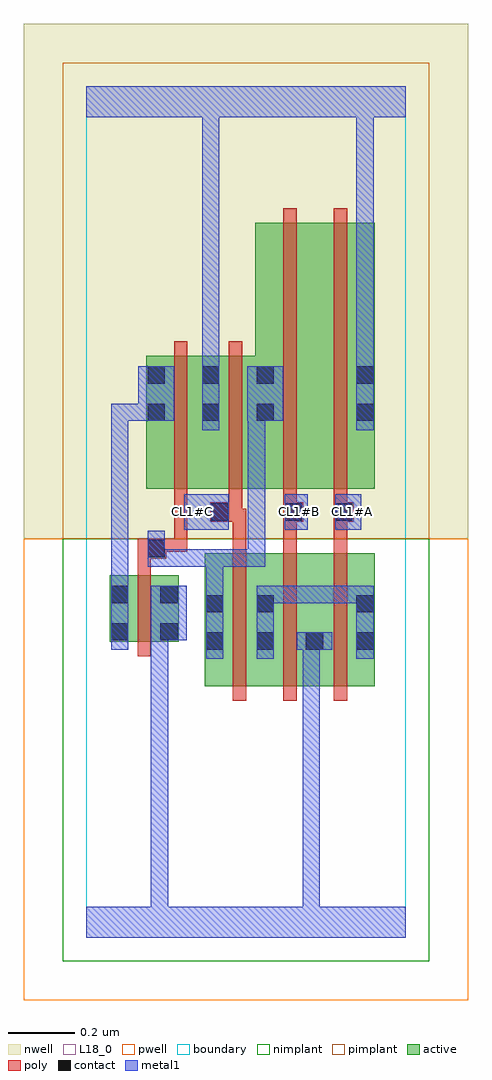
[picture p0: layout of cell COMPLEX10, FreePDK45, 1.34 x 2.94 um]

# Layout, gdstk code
import gdstk
lib = gdstk.Library(unit=1e-6, precision=1e-09)
def R(c, l, rs):  # rectangles x0, y0, x1, y1
    for r in rs: c.add(gdstk.rectangle(r[:2], r[2:], *l))
def A(c, l, x, y, w, h, nx, ny, dx, dy):  # array of equal rectangles
    R(c, l, [(x+i*dx, y+j*dy, x+i*dx+w, y+j*dy+h) for i in range(nx) for j in range(ny)])
active = (1, 0)
pwell = (2, 0)
nwell = (3, 0)
nimplant = (4, 0)
pimplant = (5, 0)
poly = (9, 0)
contact = (10, 0)
metal1 = (11, 0)
L18_0 = (18, 0)
boundary = (235, 0)

complex10 = lib.new_cell('COMPLEX10')
R(complex10, active, [(0.356,0.756,0.416,1.156), (0.356,0.756,0.568,1.156), (0.508,0.756,0.568,1.156), (0.508,0.756,0.716,1.156), (0.656,0.756,0.716,1.156), (0.656,0.756,0.868,1.156), (0.808,0.756,0.868,1.156), (0.07,0.89,0.13,1.09), (0.07,0.89,0.278,1.09), (0.218,0.89,0.278,1.09), (0.18,1.35,0.24,1.75), (0.18,1.35,0.404,1.75), (0.344,1.35,0.404,1.75), (0.344,1.35,0.568,1.75), (0.508,1.35,0.688,2.15), (0.508,1.35,0.568,1.722), (0.688,1.35,0.868,2.15), (0.808,1.35,0.868,2.044)])
R(complex10, pwell, [(-0.188,-0.188,1.148,1.2)])
R(complex10, nwell, [(-0.188,1.2,1.148,2.748)])
R(complex10, nimplant, [(-0.072,-0.072,1.032,1.2)])
R(complex10, pimplant, [(-0.072,1.2,1.032,2.632)])
A(complex10, poly, 0.44, 0.712, 0.04, 0.488, 3, 1, 0.152, 0)
A(complex10, poly, 0.44, 1.16, 0.04, 0.13, 3, 1, 0.152, 0)
R(complex10, poly, [(0.154,0.846,0.194,1.134), (0.154,1.094,0.194,1.18), (0.154,1.14,0.24,1.2), (0.2,1.16,0.24,1.2), (0.2,1.16,0.304,1.2), (0.264,1.16,0.304,1.346), (0.372,1.25,0.468,1.31), (0.428,1.25,0.468,1.29), (0.428,1.25,0.48,1.29), (0.592,1.25,0.632,1.29), (0.592,1.25,0.632,1.29), (0.592,1.25,0.652,1.31), (0.744,1.25,0.804,1.31), (0.428,1.27,0.468,1.346), (0.592,1.27,0.632,1.346), (0.744,1.27,0.784,1.346), (0.744,1.27,0.784,1.31), (0.744,1.27,0.784,1.31), (0.264,1.306,0.304,1.794), (0.428,1.306,0.468,1.794), (0.592,1.306,0.632,2.194), (0.744,1.306,0.784,2.194)])
A(complex10, contact, 0.184, 1.554, 0.052, 0.052, 3, 2, 0.164, 0.112)
R(complex10, contact, [(0.36,0.866,0.412,0.918), (0.512,0.866,0.564,0.918), (0.66,0.866,0.712,0.918), (0.812,0.866,0.864,0.918), (0.074,0.894,0.126,0.946), (0.222,0.894,0.274,0.946), (0.36,0.978,0.412,1.03), (0.512,0.978,0.564,1.03), (0.812,0.978,0.864,1.03), (0.074,1.006,0.126,1.058), (0.222,1.006,0.274,1.058), (0.184,1.144,0.236,1.196), (0.376,1.254,0.428,1.306), (0.596,1.254,0.648,1.306), (0.748,1.254,0.8,1.306), (0.812,1.554,0.864,1.606), (0.812,1.666,0.864,1.718)])
R(complex10, metal1, [(0,0,0.96,0.092), (0.194,0.04,0.246,0.092), (0.194,0.04,0.246,0.092), (0.194,0.04,0.246,0.092), (0.194,0.04,0.246,0.092), (0.194,0.04,0.246,0.092), (0.194,0.04,0.246,0.092), (0.194,0.04,0.246,0.092), (0.194,0.04,0.246,0.092), (0.194,0.04,0.246,0.092), (0.194,0.04,0.246,0.092), (0.194,0.04,0.246,0.092), (0.194,0.04,0.246,0.092), (0.194,0.04,0.246,0.092), (0.194,0.04,0.246,0.092), (0.194,0.04,0.246,0.946), (0.65,0.04,0.702,0.092), (0.65,0.04,0.702,0.092), (0.65,0.04,0.702,0.092), (0.65,0.04,0.702,0.092), (0.65,0.04,0.702,0.092), (0.65,0.04,0.702,0.092), (0.65,0.04,0.702,0.092), (0.65,0.04,0.702,0.092), (0.65,0.04,0.702,0.918), (0.36,0.838,0.412,1.058), (0.512,0.838,0.564,1.058), (0.812,0.838,0.864,1.058), (0.074,0.866,0.126,1.086), (0.632,0.866,0.74,0.918), (0.65,0.866,0.702,0.918), (0.65,0.866,0.702,0.918), (0.65,0.866,0.702,0.918), (0.65,0.866,0.702,0.918), (0.194,0.894,0.246,0.946), (0.194,0.894,0.246,0.946), (0.194,0.894,0.302,1.058), (0.36,1.006,0.412,1.168), (0.512,1.006,0.564,1.058), (0.512,1.006,0.564,1.058), (0.512,1.006,0.754,1.058), (0.702,1.006,0.754,1.058), (0.702,1.006,0.864,1.058), (0.812,1.006,0.864,1.058), (0.812,1.006,0.864,1.058), (0.074,1.034,0.126,1.086), (0.074,1.034,0.126,1.086), (0.074,1.034,0.126,1.606), (0.184,1.116,0.236,1.168), (0.184,1.116,0.236,1.168), (0.184,1.116,0.412,1.168), (0.184,1.116,0.236,1.224), (0.36,1.116,0.412,1.168), (0.36,1.116,0.454,1.168), (0.402,1.116,0.454,1.168), (0.402,1.116,0.538,1.168), (0.486,1.116,0.538,1.168), (0.486,1.116,0.538,1.168), (0.486,1.116,0.538,1.168), (0.486,1.116,0.538,1.606), (0.294,1.226,0.428,1.334), (0.596,1.226,0.666,1.334), (0.748,1.226,0.826,1.334), (0.348,1.526,0.4,1.746), (0.812,1.526,0.864,1.746), (0.074,1.554,0.208,1.606), (0.156,1.554,0.208,1.606), (0.156,1.554,0.264,1.718), (0.484,1.554,0.592,1.718), (0.348,1.694,0.4,2.52), (0.348,1.694,0.4,1.746), (0.348,1.694,0.4,1.746), (0.348,1.694,0.4,1.746), (0.348,1.694,0.4,1.746), (0.348,1.694,0.4,1.746), (0.348,1.694,0.4,1.746), (0.348,1.694,0.4,1.746), (0.348,1.694,0.4,1.746), (0.348,1.694,0.4,1.746), (0.348,1.694,0.4,1.746), (0.348,1.694,0.4,1.746), (0.348,1.694,0.4,1.746), (0.348,1.694,0.4,1.746), (0.348,1.694,0.4,1.746), (0.812,1.694,0.864,2.52), (0.812,1.694,0.864,1.746), (0.812,1.694,0.864,1.746), (0.812,1.694,0.864,1.746), (0.812,1.694,0.864,1.746), (0.812,1.694,0.864,1.746), (0.812,1.694,0.864,1.746), (0,2.468,0.96,2.56), (0.348,2.468,0.4,2.52), (0.348,2.468,0.4,2.52), (0.812,2.468,0.864,2.52), (0.812,2.468,0.864,2.52)])
R(complex10, L18_0, [(0,0,0.96,0.092), (0.194,0.04,0.246,0.092), (0.194,0.04,0.246,0.092), (0.194,0.04,0.246,0.092), (0.194,0.04,0.246,0.092), (0.194,0.04,0.246,0.092), (0.194,0.04,0.246,0.092), (0.194,0.04,0.246,0.092), (0.194,0.04,0.246,0.092), (0.194,0.04,0.246,0.092), (0.194,0.04,0.246,0.092), (0.194,0.04,0.246,0.092), (0.194,0.04,0.246,0.092), (0.194,0.04,0.246,0.092), (0.194,0.04,0.246,0.092), (0.194,0.04,0.246,0.946), (0.65,0.04,0.702,0.092), (0.65,0.04,0.702,0.092), (0.65,0.04,0.702,0.092), (0.65,0.04,0.702,0.092), (0.65,0.04,0.702,0.092), (0.65,0.04,0.702,0.092), (0.65,0.04,0.702,0.092), (0.65,0.04,0.702,0.092), (0.65,0.04,0.702,0.918), (0.632,0.866,0.74,0.918), (0.65,0.866,0.702,0.918), (0.65,0.866,0.702,0.918), (0.65,0.866,0.702,0.918), (0.65,0.866,0.702,0.918), (0.194,0.894,0.246,0.946), (0.194,0.894,0.246,0.946), (0.194,0.894,0.302,1.058), (0.294,1.226,0.428,1.334), (0.596,1.226,0.666,1.334), (0.748,1.226,0.826,1.334), (0.294,1.254,0.346,1.306), (0.614,1.254,0.666,1.306), (0.774,1.254,0.826,1.306), (0.348,1.526,0.4,1.746), (0.812,1.526,0.864,1.746), (0.348,1.694,0.4,1.746), (0.348,1.694,0.4,1.746), (0.348,1.694,0.4,1.746), (0.348,1.694,0.4,1.746), (0.348,1.694,0.4,1.746), (0.348,1.694,0.4,1.746), (0.348,1.694,0.4,1.746), (0.348,1.694,0.4,1.746), (0.348,1.694,0.4,1.746), (0.348,1.694,0.4,1.746), (0.348,1.694,0.4,1.746), (0.348,1.694,0.4,1.746), (0.348,1.694,0.4,1.746), (0.348,1.694,0.4,1.746), (0.348,1.694,0.4,2.52), (0.812,1.694,0.864,1.746), (0.812,1.694,0.864,1.746), (0.812,1.694,0.864,1.746), (0.812,1.694,0.864,1.746), (0.812,1.694,0.864,1.746), (0.812,1.694,0.864,1.746), (0.812,1.694,0.864,2.52), (0,2.468,0.96,2.56), (0.348,2.468,0.4,2.52), (0.348,2.468,0.4,2.52), (0.812,2.468,0.864,2.52), (0.812,2.468,0.864,2.52)])
R(complex10, boundary, [(0,0,0.96,2.56)])
complex10.add(gdstk.Label('CL1#A', (0.8,1.28), layer=11, texttype=0))
complex10.add(gdstk.Label('CL1#B', (0.64,1.28), layer=11, texttype=0))
complex10.add(gdstk.Label('CL1#C', (0.32,1.28), layer=11, texttype=0))

lib.write_gds('COMPLEX10.gds')
